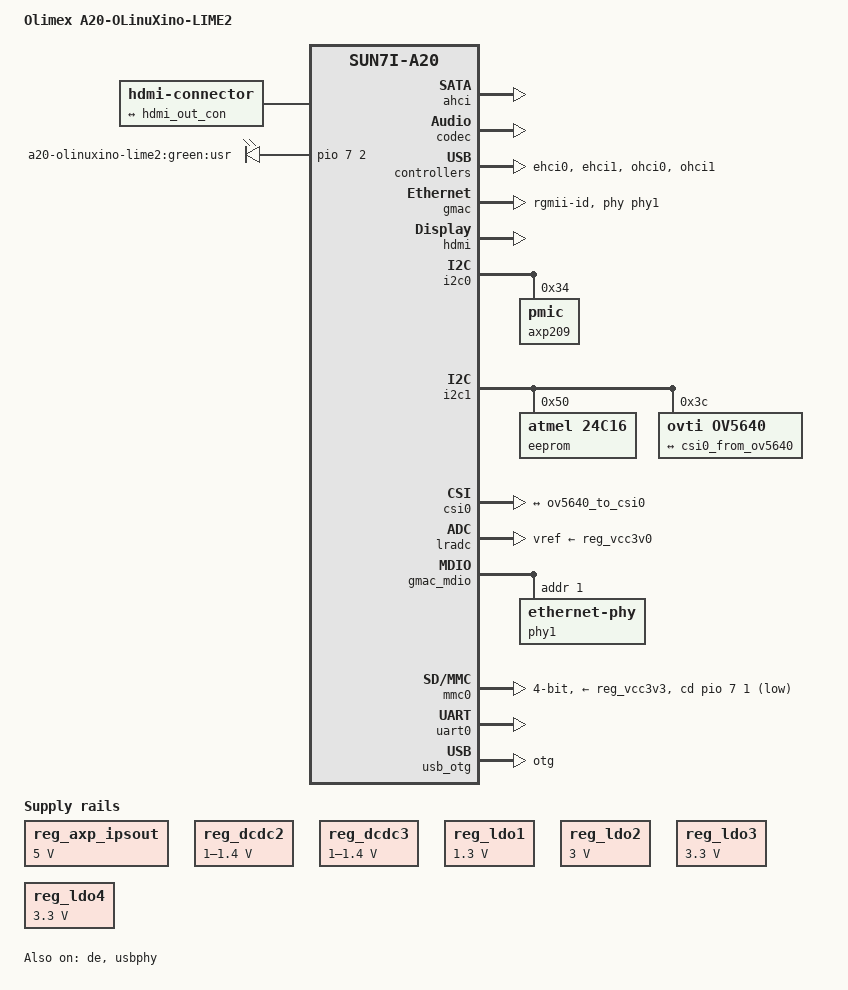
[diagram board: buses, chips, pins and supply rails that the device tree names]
/*
 * Copyright 2014 - Iain Paton <ipaton0@gmail.com>
 *
 * This file is dual-licensed: you can use it either under the terms
 * of the GPL or the X11 license, at your option. Note that this dual
 * licensing only applies to this file, and not this project as a
 * whole.
 *
 *  a) This file is free software; you can redistribute it and/or
 *     modify it under the terms of the GNU General Public License as
 *     published by the Free Software Foundation; either version 2 of the
 *     License, or (at your option) any later version.
 *
 *     This file is distributed in the hope that it will be useful,
 *     but WITHOUT ANY WARRANTY; without even the implied warranty of
 *     MERCHANTABILITY or FITNESS FOR A PARTICULAR PURPOSE.  See the
 *     GNU General Public License for more details.
 *
 * Or, alternatively,
 *
 *  b) Permission is hereby granted, free of charge, to any person
 *     obtaining a copy of this software and associated documentation
 *     files (the "Software"), to deal in the Software without
 *     restriction, including without limitation the rights to use,
 *     copy, modify, merge, publish, distribute, sublicense, and/or
 *     sell copies of the Software, and to permit persons to whom the
 *     Software is furnished to do so, subject to the following
 *     conditions:
 *
 *     The above copyright notice and this permission notice shall be
 *     included in all copies or substantial portions of the Software.
 *
 *     THE SOFTWARE IS PROVIDED "AS IS", WITHOUT WARRANTY OF ANY KIND,
 *     EXPRESS OR IMPLIED, INCLUDING BUT NOT LIMITED TO THE WARRANTIES
 *     OF MERCHANTABILITY, FITNESS FOR A PARTICULAR PURPOSE AND
 *     NONINFRINGEMENT. IN NO EVENT SHALL THE AUTHORS OR COPYRIGHT
 *     HOLDERS BE LIABLE FOR ANY CLAIM, DAMAGES OR OTHER LIABILITY,
 *     WHETHER IN AN ACTION OF CONTRACT, TORT OR OTHERWISE, ARISING
 *     FROM, OUT OF OR IN CONNECTION WITH THE SOFTWARE OR THE USE OR
 *     OTHER DEALINGS IN THE SOFTWARE.
 */

/dts-v1/;
#include "sun7i-a20.dtsi"
#include "sunxi-common-regulators.dtsi"

#include <dt-bindings/gpio/gpio.h>
#include <dt-bindings/interrupt-controller/irq.h>

/ {
	model = "Olimex A20-OLinuXino-LIME2";
	compatible = "olimex,a20-olinuxino-lime2", "allwinner,sun7i-a20";

	aliases {
		serial0 = &uart0;
	};

	chosen {
		stdout-path = "serial0:115200n8";
	};

	hdmi-connector {
		compatible = "hdmi-connector";
		type = "a";

		port {
			hdmi_con_in: endpoint {
				remote-endpoint = <&hdmi_out_con>;
			};
		};
	};

	leds {
		compatible = "gpio-leds";
		pinctrl-names = "default";
		pinctrl-0 = <&led_pins_olinuxinolime>;

		green {
			label = "a20-olinuxino-lime2:green:usr";
			gpios = <&pio 7 2 GPIO_ACTIVE_HIGH>;
			default-state = "on";
		};
	};

	reg_axp_ipsout: axp_ipsout {
		compatible = "regulator-fixed";
		regulator-name = "axp-ipsout";
		regulator-min-microvolt = <5000000>;
		regulator-max-microvolt = <5000000>;
		regulator-always-on;
	};
};

&ahci {
	target-supply = <&reg_ahci_5v>;
	status = "okay";
};

&codec {
        status = "okay";
};

&de {
	status = "okay";
};

&ehci0 {
	status = "okay";
};

&ehci1 {
	status = "okay";
};

&gmac {
	pinctrl-names = "default";
	pinctrl-0 = <&gmac_rgmii_pins>;
	phy-handle = <&phy1>;
	phy-mode = "rgmii-id";
	status = "okay";
};

&hdmi {
	status = "okay";
};

&hdmi_out {
	hdmi_out_con: endpoint {
		remote-endpoint = <&hdmi_con_in>;
	};
};

&i2c0 {
	status = "okay";

	axp209: pmic@34 {
		reg = <0x34>;
		interrupt-parent = <&nmi_intc>;
		interrupts = <0 IRQ_TYPE_LEVEL_LOW>;
	};
};

&i2c1 {
	status = "okay";

	eeprom: eeprom@50 {
		compatible = "atmel,24c16";
		reg = <0x50>;
		pagesize = <16>;
	};
};

/* define CU hardware interface
CSI0_CLK_REG 0x0134 CSI0 CLOCK REGISTER
8 R/W 0x0 Gating AHB Clock for CSI0(0: mask, 1: pass).
AHB_GATING_REG1

CSI0_DCLK_GATING.
Gating DRAM Clock for CSI0(0: mask, 1: pass).
*/
&csi0 {
	clocks = <&ccu CLK_AHB_CSI0>,
                <&ccu CLK_CSI_SCLK>,
                <&ccu CLK_DRAM_CSI0>,
                /* <&ccu CLK_PLL7_VIDEO1>, */
                <&ccu CLK_CSI0>;
	clock-names = "bus", "isp", "ram", /*"pll7",*/ "mclk";

	pinctrl-names = "default";
	pinctrl-0 = <&csi0_8bits_pins>;
	status = "okay";

	port {
		/* Parallel bus endpoint */
		csi0_from_ov5640: endpoint {
			remote-endpoint = <&ov5640_to_csi0>;
			bus-width = <8>;
			hsync-active = <0>; /* HSYNC active 'low' => wire active is 'high' */
			vsync-active = <1>; /* VSYNC active 'low' => wire active is 'high' */
			data-active = <1>;  /* Active high */
			pclk-sample = <1>;  /* Rising */
		};
	};
};

/*
 * https://docs.kernel.org/i2c/instantiating-devices.html#declare-the-i2c-devices-via-devicetree
 * https://github.com/OLIMEX/linux-olimex/blob/release-20221011-v5.10.105/Documentation/devicetree/bindings/media/i2c/ov5640.txt
 *
 * https://linux-sunxi.org/Clock_Control_Module#CCM_CSI0_CLK
 * https://www.linuxtv.org/downloads/v4l-dvb-apis/driver-api/camera-sensor.html#devicetree
 * https://github.com/devicetree-org/dt-schema/blob/main/dtschema/schemas/clock/clock.yaml
 */
&i2c1 {
	status = "okay";

	ov5640: camera@3c {
		compatible = "ovti,ov5640";
		reg = <0x3c>;
		pinctrl-names = "default";
		pinctrl-0 = <&csi0_clk_pin>;
		clocks = <&ccu CLK_CSI0>;
		clock-names = "xclk";

		/* modify default clock sources / frequencies */
		/* >assigned-clocks = <&ccu CLK_CSI0>, <&ccu CLK_PLL7_VIDEO1>; */
		/* select CSI0 source clock PLL7 in CSI0_CLK_REG */
		/* >assigned-clock-parents = <&ccu CLK_PLL7_VIDEO1>; */
		/*
		 * the integer mode of PLL7: (3 MHz * (9 + 7)) = 48 MHz
		 * set CSI0 clock in CSI0_CLK_REG as division by (2 + 1) of the source: 48 MHz / 3 = 16 MHz
		 * > assigned-clock-rates = <16000000>, <48000000>;
		 * =====
		 * the fractional mode of PLL7: 297 MHz
		 * CSI0 clock in CSI0_CLK_REG: 49.5 / 18 = 16.5 MHz
		 * > assigned-clock-rates = <16500000>;
		 */

		/* default main oscillator setup: 24000000 Hz
		assigned-clocks = <&ccu CLK_CSI0>, <&ccu CLK_HOSC>;
		assigned-clock-parents = <&ccu CLK_HOSC>;
		*/

		/*
		 * https://github.com/OLIMEX/linux-olimex/blob/release-20221011-v5.10.105/Documentation/driver-api/gpio/consumer.rst#the-active-low-and-open-drain-semantics
		 * [SUNXI_GPIO_G	6] => [pio 6]
		 */
		/*start-gpios = <&pio 6 6 (GPIO_ACTIVE_HIGH | GPIO_PULL_DOWN)>; /* CU_START_PG (6) / PIN17 => MC_START * /
		stop-gpios = <&pio 6 2 (GPIO_ACTIVE_HIGH | GPIO_PULL_DOWN)>;  /* CU_STOP_PG  (2) / PIN9  => MC_STOP * /
		*/
		rotation = <0>; /* this number can be used as parameter to the driver from kernel space */

		port {
			ov5640_to_csi0: endpoint {
				remote-endpoint = <&csi0_from_ov5640>;
				bus-width = <8>;
				data-shift = <0>;   /* 0: do not shift data inside possible 10bit bus */
				hsync-active = <0>; /* HSYNC active 'low' => wire active is 'high' */
				vsync-active = <1>; /* VSYNC active 'high' => wire active is 'high' */
				data-active = <1>;  /* Active high */
				pclk-sample = <1>;  /* Rising */
			};
		};
	};
};
/* defined CU hardware interface */

&lradc {
	vref-supply = <&reg_vcc3v0>;
};

&gmac_mdio {
	phy1: ethernet-phy@1 {
		reg = <1>;
	};
};

&mmc0 {
	vmmc-supply = <&reg_vcc3v3>;
	bus-width = <4>;
	cd-gpios = <&pio 7 1 GPIO_ACTIVE_LOW>; /* PH1 */
	status = "okay";
};

&ohci0 {
	status = "okay";
};

&ohci1 {
	status = "okay";
};

&otg_sram {
	status = "okay";
};

&pio {
	vcc-pe-supply = <&reg_ldo3>;
	vcc-pg-supply = <&reg_ldo4>;

	vcc-pa-supply = <&reg_vcc3v3>;
	vcc-pc-supply = <&reg_vcc3v3>;
	vcc-pf-supply = <&reg_vcc3v3>;

	led_pins_olinuxinolime: led-pins {
		pins = "PH2";
		function = "gpio_out";
		drive-strength = <20>;
	};
};

&reg_ahci_5v {
	gpio = <&pio 2 3 GPIO_ACTIVE_HIGH>;
	status = "okay";
};

#include "axp209.dtsi"

&ac_power_supply {
	status = "okay";
};

&battery_power_supply {
	status = "okay";
};

&reg_dcdc2 {
	regulator-always-on;
	regulator-min-microvolt = <1000000>;
	regulator-max-microvolt = <1400000>;
	regulator-name = "vdd-cpu";
};

&reg_dcdc3 {
	regulator-always-on;
	regulator-min-microvolt = <1000000>;
	regulator-max-microvolt = <1400000>;
	regulator-name = "vdd-int-dll";
};

&reg_ldo1 {
	regulator-always-on;
	regulator-min-microvolt = <1300000>;
	regulator-max-microvolt = <1300000>;
	regulator-name = "vdd-rtc";
};

&reg_ldo2 {
	regulator-always-on;
	regulator-min-microvolt = <3000000>;
	regulator-max-microvolt = <3000000>;
	regulator-name = "avcc";
};

&reg_ldo3 {
	regulator-always-on;
	regulator-min-microvolt = <3300000>;
	regulator-max-microvolt = <3300000>;
	regulator-name = "vddio-csi0";
	regulator-ramp-delay = <1600>;
};

&reg_ldo4 {
	regulator-always-on;
	regulator-min-microvolt = <3300000>;
	regulator-max-microvolt = <3300000>;
	regulator-name = "vddio-csi1";
};

&reg_usb0_vbus {
	gpio = <&pio 2 17 GPIO_ACTIVE_HIGH>;
	status = "okay";
};

&reg_usb1_vbus {
	status = "okay";
};

&reg_usb2_vbus {
	status = "okay";
};

&uart0 {
	pinctrl-names = "default";
	pinctrl-0 = <&uart0_pb_pins>;
	status = "okay";
};

&usb_otg {
	dr_mode = "otg";
	status = "okay";
};

&usbphy {
	usb0_id_det-gpios = <&pio 7 4 (GPIO_ACTIVE_HIGH | GPIO_PULL_UP)>; /* PH4 */
	usb0_vbus_det-gpios = <&pio 7 5 (GPIO_ACTIVE_HIGH | GPIO_PULL_DOWN)>; /* PH5 */
	usb0_vbus-supply = <&reg_usb0_vbus>;
	usb1_vbus-supply = <&reg_usb1_vbus>;
	usb2_vbus-supply = <&reg_usb2_vbus>;
	status = "okay";
};
